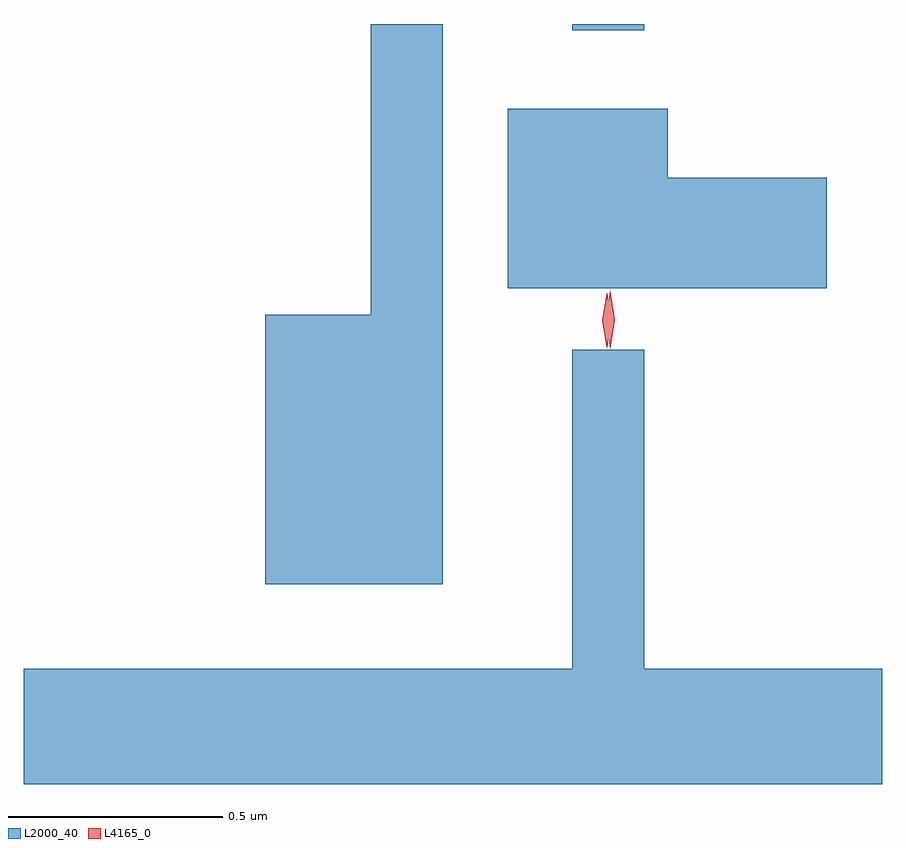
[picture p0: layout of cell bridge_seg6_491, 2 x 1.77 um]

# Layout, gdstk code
import gdstk
lib = gdstk.Library(unit=1e-6, precision=1e-09)
def R(c, l, rs):  # rectangles x0, y0, x1, y1
    for r in rs: c.add(gdstk.rectangle(r[:2], r[2:], *l))
def P(c, l, *ps):  # polygons
    for p in ps: c.add(gdstk.Polygon(p, *l))
L2000_40 = (2000, 40)
L4165_0 = (4165, 0)

bridge_seg6_491 = lib.new_cell('bridge_seg6_491')
R(bridge_seg6_491, L2000_40, [(678.881,1582.873,679.049,1582.887)])
P(bridge_seg6_491, L2000_40, [(678.579,1582.887),(678.411,1582.887),(678.411,1582.209),(678.166,1582.209),(678.166,1581.581),(678.579,1581.581)],
  [(679.474,1582.529),(679.104,1582.529),(679.104,1582.689),(678.731,1582.689),(678.731,1582.271),(679.474,1582.271)],
  [(679.603,1581.384),(679.049,1581.384),(679.049,1582.128),(678.881,1582.128),(678.881,1581.384),(677.603,1581.384),(677.603,1581.116),(679.603,1581.116)])
P(bridge_seg6_491, L4165_0, [(678.962,1582.133),(678.961,1582.134),(678.951,1582.196),(678.961,1582.26),(678.961,1582.26),(678.962,1582.26),(678.971,1582.196),(678.962,1582.134)],
  [(678.969,1582.13),(678.96,1582.198),(678.969,1582.265),(678.97,1582.266),(678.97,1582.265),(678.98,1582.198),(678.97,1582.13),(678.97,1582.13)])

lib.write_gds('bridge_seg6_491.gds')
